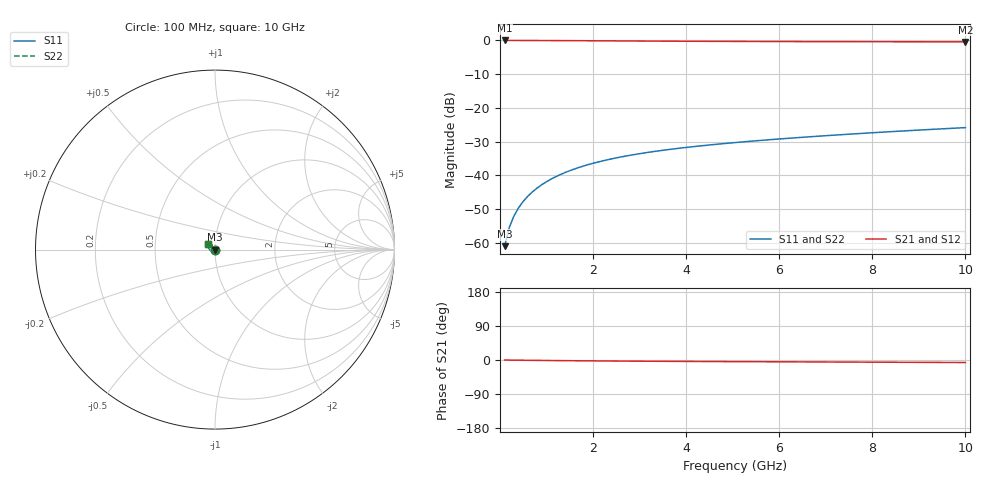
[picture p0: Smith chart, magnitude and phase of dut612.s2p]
! Touchstone file exported from HFSS 2024.1.0
!  File:  C:/UserFiles/LocalFiles/RDL_TSV_Batchsim/temp_TSV1_612_1779788383.aedt
!  Generated:  05:46:04 PM May 26, 2026
!  Design:  TSV1
!  Project:  temp_TSV1_612_1779788383
!  Setup:  Setup1
!  Solution:  Sweep
! Variables:
!  dtsv = 6.78um
!  hbump = 3um
!  htsv = 99.31um
!  lrdl = 252.1521522um
!  p = 40
!  p1 = 59.02um
!  t = 500um
!  trdl = 3um
!  wrdl = 24.89489489um
# GHz S MA R 50.000000
! Terminal data exported
! Port[1] = TSV22_T1
! Port[2] = TSV22_T2
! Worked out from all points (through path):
!   100 points, 100 MHz to 10 GHz, reference 50 ohm
!   highest |S21| = 0.00 dB at 100 MHz (marker M1); lowest = -0.4 dB at 10 GHz (marker M2)
!   lowest |S11| = -61.1 dB at 100 MHz (marker M3), VSWR 1.00, Z = 50 - j0.0825 ohm
!   |S11| at or under -10 dB: start of sweep to end of sweep
!   |S22| runs from -61.1 to -25.9 dB; largest |S21 - S12| = 1.8e-15
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0.1  0.0008859 -68.6  0.9996 -0.1  0.9996 -0.1  0.0008859 -68.6
! Gamma 0 0 0 0
! Port Impedance 50 0 50 0
0.2  0.001674 -82.5  0.9995 -0.3  0.9995 -0.3  0.001674 -82.5
0.3  0.00248 -88.9  0.9993 -0.4  0.9993 -0.4  0.00248 -88.9
0.4  0.003287 -93.4  0.9991 -0.5  0.9991 -0.5  0.003287 -93.4
0.5  0.004092 -97.0  0.9987 -0.7  0.9987 -0.7  0.004092 -97.0
0.6  0.004891 -100.2  0.9984 -0.8  0.9984 -0.8  0.004891 -100.2
0.7  0.005685 -103.2  0.9979 -0.9  0.9979 -0.9  0.005685 -103.2
0.8  0.00647 -106.0  0.9974 -1.0  0.9974 -1.0  0.00647 -106.0
0.9  0.007246 -108.6  0.9969 -1.2  0.9969 -1.2  0.007246 -108.6
1.1  0.008769 -113.7  0.9957 -1.4  0.9957 -1.4  0.008769 -113.7
1.4  0.01097 -120.9  0.9935 -1.7  0.9935 -1.7  0.01097 -120.9
1.6  0.01238 -125.4  0.992 -1.9  0.992 -1.9  0.01238 -125.4
1.8  0.01373 -129.8  0.9903 -2.1  0.9903 -2.1  0.01373 -129.8
2.1  0.01567 -136.0  0.9878 -2.4  0.9878 -2.4  0.01567 -136.0
2.5  0.01809 -143.8  0.9844 -2.8  0.9844 -2.8  0.01809 -143.8
2.9  0.02033 -151.0  0.9811 -3.1  0.9811 -3.1  0.02033 -151.0
3.4  0.02294 -159.2  0.9772 -3.4  0.9772 -3.4  0.02294 -159.2
4.2  0.02676 -170.8  0.9719 -3.9  0.9719 -3.9  0.02676 -170.8
5.1  0.03072 178.2  0.9671 -4.3  0.9671 -4.3  0.03072 178.2
6.7  0.03738 162.6  0.9608 -5.1  0.9608 -5.1  0.03738 162.6
8.4  0.04431 150.1  0.9564 -5.9  0.9564 -5.9  0.04431 150.1
10  0.05086 140.9  0.9535 -6.7  0.9535 -6.7  0.05086 140.9
